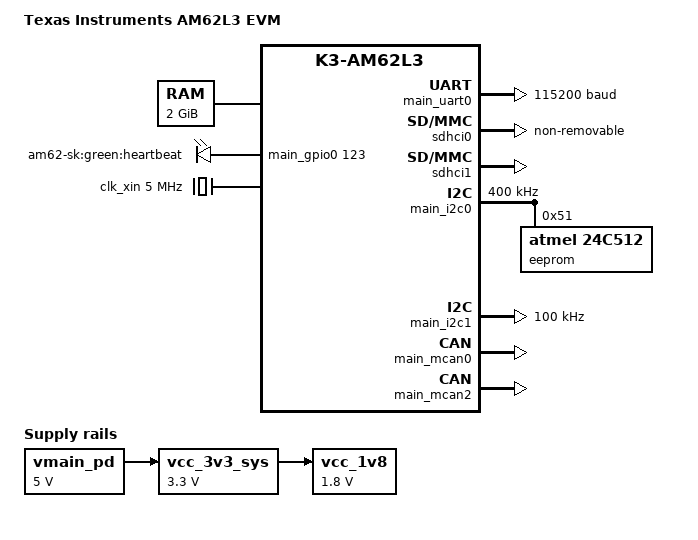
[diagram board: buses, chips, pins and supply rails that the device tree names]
// SPDX-License-Identifier: GPL-2.0-only or MIT
/*
 * Low Power Mode Demo Device Tree file for the AM62L3 Starter Kit
 * Copyright (C) 2024 Texas Instruments Incorporated - https://www.ti.com/
 */

/dts-v1/;

#include <dt-bindings/leds/common.h>
#include <dt-bindings/gpio/gpio.h>
#include "k3-am62l3.dtsi"
#include "k3-pinctrl.h"
#include <dt-bindings/net/ti-dp83867.h>

/ {
	compatible = "ti,am62l3-evm", "ti,am62l3";
	model = "Texas Instruments AM62L3 EVM";

	aliases {
		serial2 = &main_uart0;
		mmc0 = &sdhci0;
		mmc1 = &sdhci1;
	};

	chosen {
		stdout-path = &main_uart0;
	};

	cpus {
		/delete-node/ cpu@1;
	};

	memory@80000000 {
		/* 2G RAM */
		reg = <0x00000000 0x80000000 0x00000000 0x80000000>;
		device_type = "memory";
		bootph-all;
	};

	reserved-memory {
		#address-cells = <2>;
		#size-cells = <2>;
		ranges;

		secure_tfa_ddr: tfa@80000000 {
			reg = <0x00 0x80000000 0x00 0x200000>;
			no-map;
			bootph-all;
		};

		secure_ddr: optee@80100000 {
			reg = <0x00 0x80200000 0x00 0x800000>;
			no-map;
		};
	};

	leds {
		compatible = "gpio-leds";
		pinctrl-names = "default";
		pinctrl-0 = <&usr_led_pins_default>;

		led-0 {
			label = "am62-sk:green:heartbeat";
			gpios = <&main_gpio0 123 GPIO_ACTIVE_HIGH>;
			linux,default-trigger = "heartbeat";
			function = LED_FUNCTION_HEARTBEAT;
			default-state = "on";
		};
	};

	clk_xin: clock {
		bootph-all;
		compatible = "fixed-clock";
		clock-frequency = <5000000>;
		#clock-cells = <0>;
	};

	vmain_pd: regulator-0 {
		/* TPS65988 PD CONTROLLER OUTPUT */
		bootph-all;
		compatible = "regulator-fixed";
		regulator-name = "vmain_pd";
		regulator-min-microvolt = <5000000>;
		regulator-max-microvolt = <5000000>;
		regulator-always-on;
		regulator-boot-on;
	};

	vcc_3v3_sys: regulator-1 {
		/* output of LM61460-Q1 */
		compatible = "regulator-fixed";
		regulator-name = "vcc_3v3_sys";
		regulator-min-microvolt = <3300000>;
		regulator-max-microvolt = <3300000>;
		vin-supply = <&vmain_pd>;
		regulator-always-on;
		regulator-boot-on;
	};

	vcc_1v8: regulator-3 {
		/* output of TPS6282518DMQ */
		compatible = "regulator-fixed";
		regulator-name = "vcc_1v8";
		regulator-min-microvolt = <1800000>;
		regulator-max-microvolt = <1800000>;
		vin-supply = <&vcc_3v3_sys>;
		regulator-always-on;
		regulator-boot-on;
	};
};

&pinmux {
	main_i2c0_pins_default: main-i2c0-default-pins {
		pinctrl-single,pins = <
			AM62PX_IOPAD(0x01cc, PIN_INPUT_PULLUP, 0) /* (B7) I2C0_SCL */
			AM62PX_IOPAD(0x01d0, PIN_INPUT_PULLUP, 0) /* (A7) I2C0_SDA */
		>;
		bootph-all;
	};

	main_i2c1_pins_default: main-i2c1-default-pins {
		pinctrl-single,pins = <
			AM62PX_IOPAD(0x01d4, PIN_INPUT_PULLUP, 0) /* (D7) I2C1_SCL */
			AM62PX_IOPAD(0x01d8, PIN_INPUT_PULLUP, 0) /* (A6) I2C1_SDA */
		>;
		bootph-all;
	};

	main_gpio0_ioexp_intr_pins_default: main-gpio0-ioexp-intr-default-pins {
		pinctrl-single,pins = <
			AM62PX_IOPAD(0x01b0, PIN_INPUT, 7) /* (B12) SPI0_D1.GPIO0_91 */
		>;
		bootph-all;
	};

	main_mmc0_pins_default: main-mmc0-default-pins {
		bootph-all;
		pinctrl-single,pins = <
			AM62PX_IOPAD(0x0214, PIN_INPUT_PULLUP, 0) /* (D2) MMC0_CMD */
			AM62PX_IOPAD(0x020c, PIN_OUTPUT, 0) /* (B2) MMC0_CLK */
			AM62PX_IOPAD(0x0208, PIN_INPUT_PULLUP, 0) /* (D3) MMC0_DAT0 */
			AM62PX_IOPAD(0x0204, PIN_INPUT_PULLUP, 0) /* (D4) MMC0_DAT1 */
			AM62PX_IOPAD(0x0200, PIN_INPUT_PULLUP, 0) /* (C1) MMC0_DAT2 */
			AM62PX_IOPAD(0x01fc, PIN_INPUT_PULLUP, 0) /* (C2) MMC0_DAT3 */
			AM62PX_IOPAD(0x01f8, PIN_INPUT_PULLUP, 0) /* (C4) MMC0_DAT4 */
			AM62PX_IOPAD(0x01f4, PIN_INPUT_PULLUP, 0) /* (B3) MMC0_DAT5 */
			AM62PX_IOPAD(0x01f0, PIN_INPUT_PULLUP, 0) /* (A3) MMC0_DAT6 */
			AM62PX_IOPAD(0x01ec, PIN_INPUT_PULLUP, 0) /* (B4) MMC0_DAT7 */
		>;
	};

	main_mmc1_pins_default: main-mmc1-default-pins {
		bootph-all;
		pinctrl-single,pins = <
			AM62PX_IOPAD(0x0230, PIN_INPUT, 0) /* (Y3) MMC1_CMD */
			AM62PX_IOPAD(0x0228, PIN_OUTPUT, 0) /* (Y2) MMC1_CLK */
			AM62PX_IOPAD(0x0224, PIN_INPUT, 0) /* (AA1) MMC1_DAT0 */
			AM62PX_IOPAD(0x0220, PIN_INPUT_PULLUP, 0) /* (Y4) MMC1_DAT1 */
			AM62PX_IOPAD(0x021c, PIN_INPUT_PULLUP, 0) /* (AA2) MMC1_DAT2 */
			AM62PX_IOPAD(0x0218, PIN_INPUT_PULLUP, 0) /* (AB2) MMC1_DAT3 */
			AM62PX_IOPAD(0x0234, PIN_INPUT, 0) /* (B6) MMC1_SDCD */
		>;
	};

	main_mcan0_pins_default: main-mcan0-pins-default {
		bootph-all;
		pinctrl-single,pins = <
			AM62PX_IOPAD(0x01c8, PIN_INPUT, 0) /* (B15) MCAN0_RX */
			AM62PX_IOPAD(0x01c4, PIN_OUTPUT, 0) /* (B16) MCAN0_TX */
		>;
	};

	main_mcan2_pins_default: main-mcan2-pins-default {
		bootph-all;
		pinctrl-single,pins = <
			AM62PX_IOPAD(0x01bc, PIN_INPUT, 6) /* (B14) UART0_CTSn.MCAN2_RX */
			AM62PX_IOPAD(0x01c0, PIN_OUTPUT, 6) /* (B13) UART0_RTSn.MCAN2_TX */
		>;
	};

	usr_led_pins_default: usr-led-pins-default {
		pinctrl-single,pins = <
			AM62PX_IOPAD(0x0238, PIN_OUTPUT, 7) /* (D24) MMC1_SDWP.GPIO0_123 */
		>;
	};

	wlan_en_pins_default: wlan-en-pins-default {
                pinctrl-single,pins = <
			AM62PX_IOPAD(0x0110, PIN_OUTPUT, 7) /* (T20) MMC2_SDCD.GPIO0_51 */
                >;
        };

        main_wlirq_pins_default: main-wlirq-pins-default {
                pinctrl-single,pins = <
			AM62PX_IOPAD(0x0114, PIN_INPUT, 7) /* (T21) MMC2_SDWP.GPIO0_52 */
                >;
        };

	gpmc0_pins_default: gpmc0-pins-default {
		pinctrl-single,pins = <
			AM62PX_IOPAD(0x0078, PIN_INPUT, 0) /* (L22) GPMC0_AD0 */
			AM62PX_IOPAD(0x007c, PIN_INPUT, 0) /* (L23) GPMC0_AD1 */
			AM62PX_IOPAD(0x0080, PIN_INPUT, 0) /* (K22) GPMC0_AD2 */
			AM62PX_IOPAD(0x0084, PIN_INPUT, 0) /* (J23) GPMC0_AD3 */
			AM62PX_IOPAD(0x0088, PIN_INPUT, 0) /* (K23) GPMC0_AD4 */
			AM62PX_IOPAD(0x008c, PIN_INPUT, 0) /* (H22) GPMC0_AD5 */
			AM62PX_IOPAD(0x0090, PIN_INPUT, 0) /* (H23) GPMC0_AD6 */
			AM62PX_IOPAD(0x0094, PIN_INPUT, 0) /* (J22) GPMC0_AD7 */
			AM62PX_IOPAD(0x00d4, PIN_INPUT, 0) /* (N23) GPMC0_WAIT0 */
			AM62PX_IOPAD(0x00e4, PIN_OUTPUT, 0) /* (L20) GPMC0_CSn0 */
			AM62PX_IOPAD(0x00c0, PIN_OUTPUT, 0) /* (N19) GPMC0_ADVn_ALE */
			AM62PX_IOPAD(0x00c4, PIN_OUTPUT, 0) /* (N20) GPMC0_OEn_REn */
			AM62PX_IOPAD(0x00c8, PIN_OUTPUT, 0) /* (M19) GPMC0_WEn */
			AM62PX_IOPAD(0x00cc, PIN_OUTPUT, 0) /* (P23) GPMC0_BE0n_CLE */
			AM62PX_IOPAD(0x00dc, PIN_OUTPUT, 0) /* (N21) GPMC0_WPn */
		>;
	};
};

&main_uart0 {
	current-speed = <115200>;
	status = "okay";
};

&sdhci0 {
	/* eMMC */
	bootph-all;
	disable-wp;
	non-removable;
	pinctrl-names = "default";
	pinctrl-0 = <&main_mmc0_pins_default>;
	status = "okay";
};

&sdhci1 {
	/* SD/MMC */
	bootph-all;
	disable-wp;
	pinctrl-names = "default";
	pinctrl-0 = <&main_mmc1_pins_default>;
	status = "okay";
};

&main_i2c0 {
	status = "okay";
	pinctrl-names = "default";
	pinctrl-0 = <&main_i2c0_pins_default>;
	clock-frequency = <400000>;
	bootph-all;

	eeprom@51 {
		/* AT24C512C-MAHM-T or M24512-DFMC6TG */
		compatible = "atmel,24c512";
		reg = <0x51>;
	};
};

&main_gpio0 {
	status = "okay";
	bootph-all;
};

&main_gpio2 {
	status = "okay";
	bootph-all;
};

&main_i2c1 {
	status = "okay";
	pinctrl-names = "default";
	pinctrl-0 = <&main_i2c1_pins_default>;
	clock-frequency = <100000>;
	bootph-all;
};

&main_mcan0 {
	pinctrl-names = "default";
	pinctrl-0 = <&main_mcan0_pins_default>;
	status = "okay";
};

&main_mcan2 {
	pinctrl-names = "default";
	pinctrl-0 = <&main_mcan2_pins_default>;
	status = "okay";
};

&cluster0 {
	/delete-node/ core1;
};

/delete-node/ &main_rti1;
/delete-node/ &main_bcdma;
/delete-node/ &mcasp0;
/delete-node/ &main_uart1;
